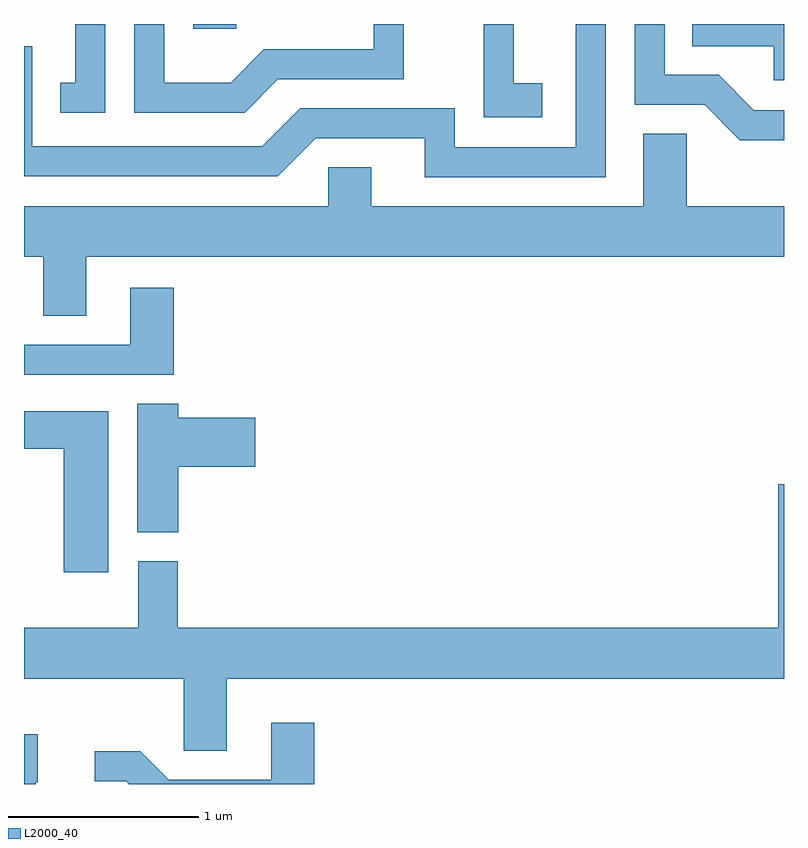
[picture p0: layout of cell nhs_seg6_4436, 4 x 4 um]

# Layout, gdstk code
import gdstk
lib = gdstk.Library(unit=1e-6, precision=1e-09)
def R(c, l, rs):  # rectangles x0, y0, x1, y1
    for r in rs: c.add(gdstk.rectangle(r[:2], r[2:], *l))
def P(c, l, *ps):  # polygons
    for p in ps: c.add(gdstk.Polygon(p, *l))
L2000_40 = (2000, 40)

nhs_seg6_4436 = lib.new_cell('nhs_seg6_4436')
R(nhs_seg6_4436, L2000_40, [(322.501,1540.136,322.729,1540.162)])
P(nhs_seg6_4436, L2000_40, [(322.039,1540.162),(321.881,1540.162),(321.881,1539.854),(321.803,1539.854),(321.803,1539.696),(322.039,1539.696)],
  [(325.611,1539.709),(325.452,1539.709),(325.267,1539.894),(324.984,1539.894),(324.984,1540.162),(324.826,1540.162),(324.826,1539.736),(325.194,1539.736),(325.379,1539.551),(325.611,1539.551)],
  [(325.611,1540.162),(325.128,1540.162),(325.128,1540.046),(325.556,1540.046),(325.556,1539.866),(325.611,1539.866)],
  [(322.947,1539.871),(323.609,1539.871),(323.609,1540.162),(323.451,1540.162),(323.451,1540.029),(322.874,1540.029),(322.699,1539.854),(322.349,1539.854),(322.349,1540.162),(322.191,1540.162),(322.191,1539.696),(322.772,1539.696)],
  [(324.674,1540.162),(324.516,1540.162),(324.516,1539.514),(323.879,1539.514),(323.879,1539.719),(323.064,1539.719),(322.864,1539.519),(321.654,1539.519),(321.654,1540.044),(321.611,1540.044),(321.611,1539.361),(322.947,1539.361),(323.147,1539.561),(323.721,1539.561),(323.721,1539.356),(324.674,1539.356)],
  [(324.339,1539.849),(324.189,1539.849),(324.189,1540.162),(324.031,1540.162),(324.031,1539.671),(324.339,1539.671)],
  [(321.939,1538.936),(325.611,1538.936),(325.611,1539.204),(325.099,1539.204),(325.099,1539.584),(324.871,1539.584),(324.871,1539.204),(323.439,1539.204),(323.439,1539.409),(323.211,1539.409),(323.211,1539.204),(321.611,1539.204),(321.611,1538.936),(321.711,1538.936),(321.711,1538.626),(321.939,1538.626)],
  [(322.399,1538.774),(322.171,1538.774),(322.171,1538.474),(321.611,1538.474),(321.611,1538.316),(322.399,1538.316)],
  [(322.424,1537.831),(322.829,1537.831),(322.829,1538.089),(322.424,1538.089),(322.424,1538.164),(322.206,1538.164),(322.206,1537.486),(322.424,1537.486)],
  [(322.054,1538.124),(321.611,1538.124),(321.611,1537.926),(321.821,1537.926),(321.821,1537.276),(322.054,1537.276)],
  [(322.679,1536.716),(325.611,1536.716),(325.611,1537.739),(325.581,1537.739),(325.581,1536.984),(322.419,1536.984),(322.419,1537.334),(322.211,1537.334),(322.211,1536.984),(321.611,1536.984),(321.611,1536.716),(322.451,1536.716),(322.451,1536.336),(322.679,1536.336)],
  [(323.139,1536.484),(322.911,1536.484),(322.911,1536.184),(322.372,1536.184),(322.222,1536.334),(321.983,1536.334),(321.983,1536.176),(322.149,1536.176),(322.163,1536.162),(323.139,1536.162)],
  [(321.674,1536.17),(321.684,1536.17),(321.684,1536.424),(321.611,1536.424),(321.611,1536.162),(321.674,1536.162)])

lib.write_gds('nhs_seg6_4436.gds')
